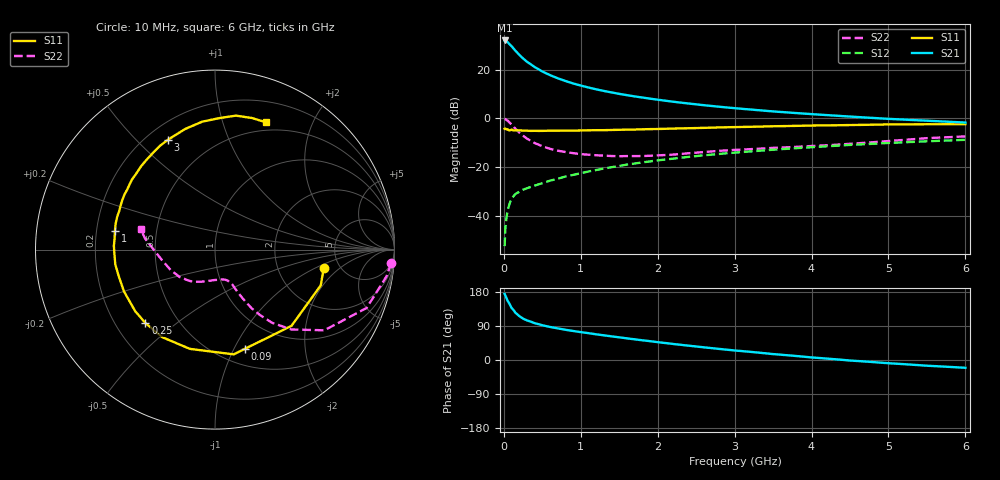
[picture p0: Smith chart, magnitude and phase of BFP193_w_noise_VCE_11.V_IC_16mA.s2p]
! Infineon Technologies  Discrete & RF Semiconductors
! BFP193
! VCE =  11. V,  IC =  16 mA
! Common Emitter S-Parameters:  Jan 2017
# GHz  S  MA  R  50
!  f  S11  S21  S12  S22
! GHz  MAG  ANG  MAG  ANG  MAG  ANG  MAG  ANG
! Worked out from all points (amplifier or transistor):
!   77 points, 10 MHz to 6 GHz, reference 50 ohm
!   highest |S21| = 32.0 dB at 10 MHz (marker M1)
!   |S21| within 3 dB of that: start of sweep to 118.3 MHz
!   unconditionally stable (mu >= 1): 978.7 MHz to 2.555 GHz
!   at 130 MHz: K = 0.31, MSG = 30.2 dB, |S12| = -31.7 dB
!   at 2.2 GHz: K = 1.02, MAG = 10.7 dB, |S12| = -16.5 dB
!   at 6 GHz: K = 0.88, MSG = 3.5 dB, |S12| = -8.8 dB
!   lowest NFmin = 0.97 dB at 450 MHz
!   S11 on the Smith chart (normalised r, x): 10 MHz: 3.77, -1.22; 90 MHz: 0.67, -1.11; 250 MHz: 0.33, -0.39; 1 GHz: 0.28, +0.09; 3 GHz: 0.28, +0.62; 6 GHz: 0.41, +1.39
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0.01  0.6148 -9.4  39.84 174.5  0.0024 78.7  0.9848 -4.4
0.02  0.622 -18.7  39.67 169.8  0.0057 82.8  0.9669 -8.9
0.05  0.6018 -44.9  36.71 155.8  0.013 70.8  0.9049 -21.1
0.09  0.5771 -73.0  31.48 141.8  0.0207 62.2  0.781 -33.0
0.1  0.5929 -79.9  30.53 137.6  0.0227 61.0  0.7563 -36.5
0.15  0.5705 -104.2  24.62 124.8  0.0282 53.0  0.617 -46.2
0.2  0.5697 -121.1  20.28 116.0  0.0313 50.9  0.5166 -52.1
0.25  0.5638 -133.4  17.04 109.2  0.0346 48.1  0.4418 -55.5
0.3  0.5616 -142.4  14.59 104.5  0.037 47.6  0.386 -58.0
0.4  0.5581 -155.4  11.34 97.1  0.0418 49.9  0.3133 -60.4
0.5  0.5565 -164.6  9.196 91.7  0.047 52.0  0.2688 -61.9
0.6  0.5616 -171.6  7.756 87.2  0.053 52.4  0.2385 -62.9
0.7  0.5609 -177.1  6.678 83.5  0.0579 54.4  0.2181 -63.6
1  0.5674 169.3  4.734 73.6  0.0755 57.1  0.1853 -68.2
1.1  0.5721 165.3  4.317 70.8  0.0817 57.3  0.1806 -69.8
1.5  0.5855 151.9  3.197 59.8  0.1062 56.9  0.1683 -80.9
2.1  0.6139 134.1  2.314 44.8  0.144 53.1  0.1779 -102.2
3  0.6657 113.3  1.625 25.1  0.199 44.8  0.2264 -130.1
3.1  0.6695 111.4  1.576 23.4  0.2048 43.8  0.2301 -132.7
4.1  0.7186 94.2  1.199 5.3  0.2628 33.8  0.2768 -158.4
5.1  0.7557 79.8  0.965 -9.7  0.3192 22.8  0.3538 177.5
6  0.7638 68.3  0.824 -20.6  0.3648 12.8  0.4294 164.6
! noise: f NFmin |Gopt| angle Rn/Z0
0.45  0.97  0.24  173  0.07
0.9  1.06  0.36  179  0.07
1.9  1.74  0.56  -142  0.14
2.4  2.05  0.62  -125  0.33
